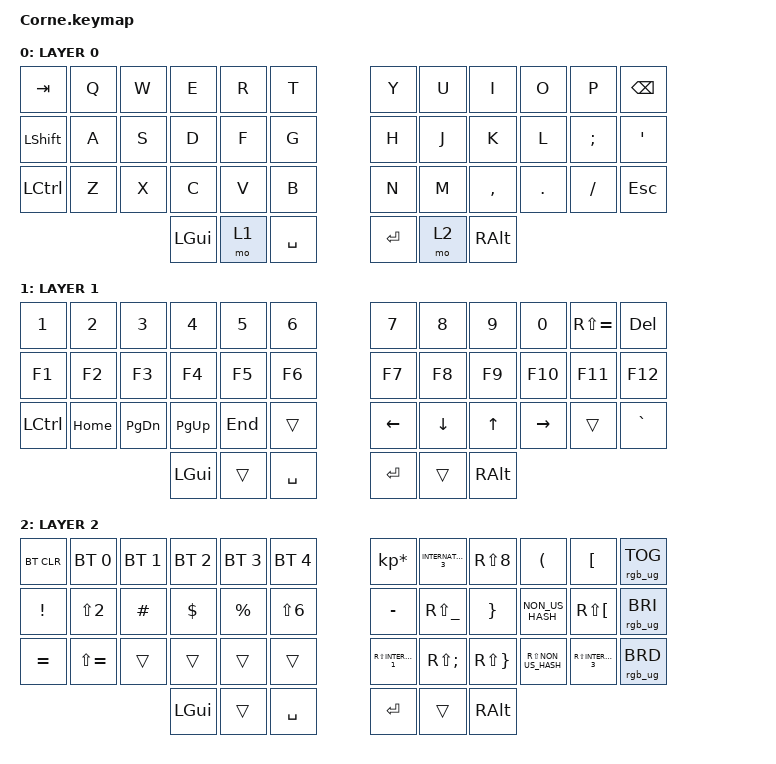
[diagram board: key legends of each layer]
/*
 * Copyright (c) 2020 The ZMK Contributors
 *
 * SPDX-License-Identifier: MIT
 */

#include <behaviors.dtsi>
#include <dt-bindings/zmk/bt.h>
#include <dt-bindings/zmk/keys.h>
#include <dt-bindings/zmk/rgb.h>

/ {
    keymap {
        compatible = "zmk,keymap";

        default_layer {
            // -----------------------------------------------------------------------------------------
            // |  TAB |  Q  |  W  |  E  |  R  |  T  |   |  Y  |  U   |  I  |  O  |  P  | BKSP |
            // | CTRL |  A  |  S  |  D  |  F  |  G  |   |  H  |  J   |  K  |  L  |  ;  |  '   |
            // | SHFT |  Z  |  X  |  C  |  V  |  B  |   |  N  |  M   |  ,  |  .  |  /  | ESC  |
            //                    | GUI | LWR | SPC |   | ENT | RSE  | ALT |

            bindings = <
&kp TAB     &kp Q  &kp W  &kp E     &kp R  &kp T        &kp Y    &kp U  &kp I      &kp O    &kp P     &kp BSPC
&kp LSHIFT  &kp A  &kp S  &kp D     &kp F  &kp G        &kp H    &kp J  &kp K      &kp L    &kp SEMI  &kp SQT
&kp LCTRL   &kp Z  &kp X  &kp C     &kp V  &kp B        &kp N    &kp M  &kp COMMA  &kp DOT  &kp FSLH  &kp ESC
                          &kp LGUI  &mo 1  &kp SPACE    &kp RET  &mo 2  &kp RALT
            >;

            display-name = "LAYER 0";
        };

        lower_layer {
            // -----------------------------------------------------------------------------------------
            // |  TAB |  1  |  2  |  3  |  4  |  5  |   |  6  |  7  |  8  |  9  |  0   | BKSP |
            // | BTCLR| BT1 | BT2 | BT3 | BT4 | BT5 |   | LFT | DWN |  UP | RGT |BL_INC|      |
            // | SHFT |     |     |     |     |     |   |     |     |     |     |BL_DEC|      |
            //                    | GUI |     | SPC |   | ENT |     | ALT |

            bindings = <
&kp NUMBER_1  &kp NUMBER_2  &kp NUMBER_3   &kp NUMBER_4  &kp N5   &kp NUMBER_6    &kp N7    &kp N8    &kp N9    &kp N0     &kp RS(EQUAL)  &kp DELETE
&kp F1        &kp F2        &kp F3         &kp F4        &kp F5   &kp F6          &kp F7    &kp F8    &kp F9    &kp F10    &kp F11        &kp F12
&kp LCTRL     &kp HOME      &kp PAGE_DOWN  &kp PAGE_UP   &kp END  &trans          &kp LEFT  &kp DOWN  &kp UP    &kp RIGHT  &trans         &kp GRAVE
                                           &kp LGUI      &trans   &kp SPACE       &kp RET   &trans    &kp RALT
            >;

            display-name = "LAYER 1";
        };

        raise_layer {
            // -----------------------------------------------------------------------------------------
            // |  TAB |  !  |  @  |  #  |  $  |  %  |   |  ^  |  &  |  *  |  (  |  )  | BKSP |
            // |  TAB |  !  |  "  |  #  |  $  |  %  |   |  &  |  '  |  (  |  )  |  ^  | BKSP |
            // | CTRL |     |     |     |     |     |   |  -  |  =  |  [  |  ]  |  \  |  `   |
            // | SHFT |     |     |     |     |     |   |  _  |  +  |  {  |  }  | "|" |  ~   |
            //                    | GUI |     | SPC |   | ENT |     | ALT |

            bindings = <
&bt BT_CLR       &bt BT_SEL 0   &bt BT_SEL 1  &bt BT_SEL 2  &bt BT_SEL 3  &bt BT_SEL 4    &kp KP_MULTIPLY          &kp INTERNATIONAL_3  &kp RS(N8)           &kp LPAR             &kp LEFT_BRACKET         &rgb_ug RGB_TOG
&kp EXCLAMATION  &kp LS(N2)     &kp HASH      &kp DLLR      &kp PRCNT     &kp LS(N6)      &kp MINUS                &kp RS(UNDERSCORE)   &kp RIGHT_BRACE      &kp NON_US_HASH      &kp RS(LEFT_BRACKET)     &rgb_ug RGB_BRI
&kp EQUAL        &kp LS(EQUAL)  &trans        &trans        &trans        &trans          &kp RS(INTERNATIONAL_1)  &kp RS(SEMI)         &kp RS(RIGHT_BRACE)  &kp RS(NON_US_HASH)  &kp RS(INTERNATIONAL_3)  &rgb_ug RGB_BRD
                                              &kp LGUI      &trans        &kp SPACE       &kp RET                  &trans               &kp RALT
            >;

            display-name = "LAYER 2";
        };

        extra1 { status = "reserved"; };

        extra2 { status = "reserved"; };

        extra3 { status = "reserved"; };

        extra4 { status = "reserved"; };

        extra5 { status = "reserved"; };
    };
};
